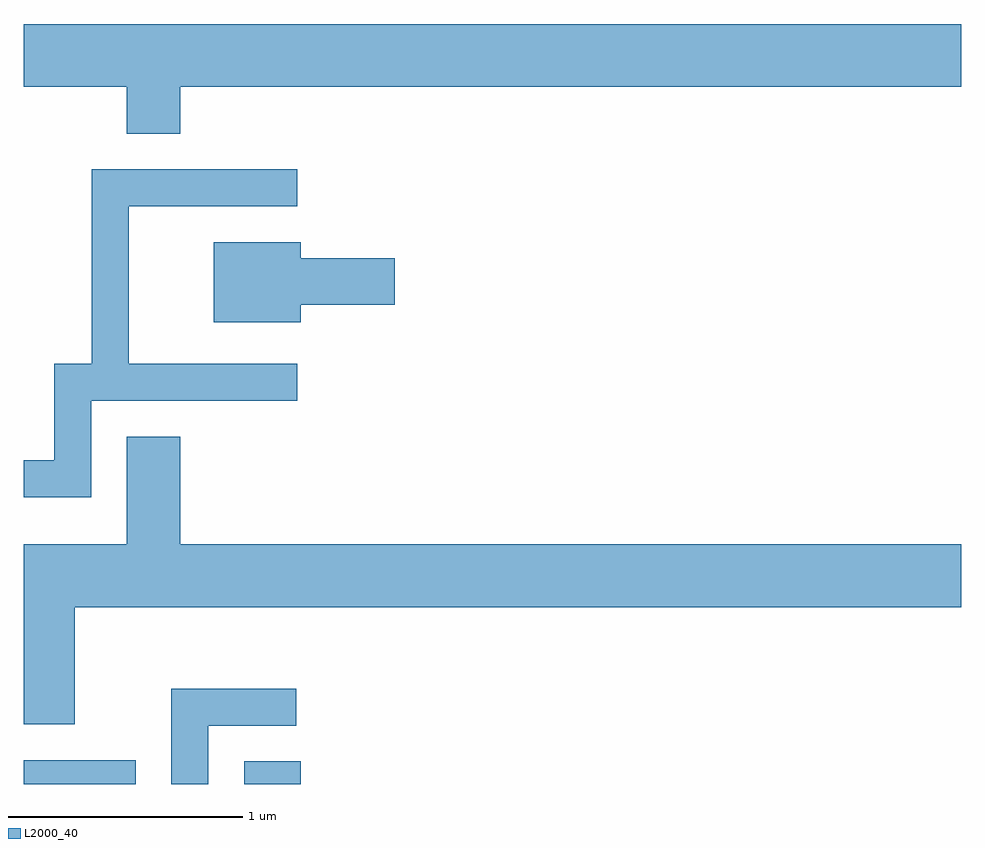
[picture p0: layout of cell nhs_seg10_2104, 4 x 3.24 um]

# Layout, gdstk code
import gdstk
lib = gdstk.Library(unit=1e-6, precision=1e-09)
def R(c, l, rs):  # rectangles x0, y0, x1, y1
    for r in rs: c.add(gdstk.rectangle(r[:2], r[2:], *l))
def P(c, l, *ps):  # polygons
    for p in ps: c.add(gdstk.Polygon(p, *l))
L2000_40 = (2000, 40)

nhs_seg10_2104 = lib.new_cell('nhs_seg10_2104')
R(nhs_seg10_2104, L2000_40, [(247.611,2086.522,248.089,2086.624), (248.551,2086.522,248.794,2086.619)])
P(nhs_seg10_2104, L2000_40, [(248.279,2089.496),(251.611,2089.496),(251.611,2089.764),(247.611,2089.764),(247.611,2089.496),(248.051,2089.496),(248.051,2089.296),(248.279,2089.296)],
  [(247.899,2088.156),(248.778,2088.156),(248.778,2088.314),(248.059,2088.314),(248.059,2088.986),(248.778,2088.986),(248.778,2089.144),(247.901,2089.144),(247.901,2088.314),(247.741,2088.314),(247.741,2087.904),(247.611,2087.904),(247.611,2087.746),(247.899,2087.746)],
  [(248.794,2088.566),(249.194,2088.566),(249.194,2088.764),(248.794,2088.764),(248.794,2088.834),(248.421,2088.834),(248.421,2088.491),(248.794,2088.491)],
  [(247.829,2087.276),(251.611,2087.276),(251.611,2087.544),(248.279,2087.544),(248.279,2088.004),(248.051,2088.004),(248.051,2087.544),(247.611,2087.544),(247.611,2086.776),(247.829,2086.776)],
  [(248.399,2086.771),(248.773,2086.771),(248.773,2086.929),(248.241,2086.929),(248.241,2086.522),(248.399,2086.522)])

lib.write_gds('nhs_seg10_2104.gds')
